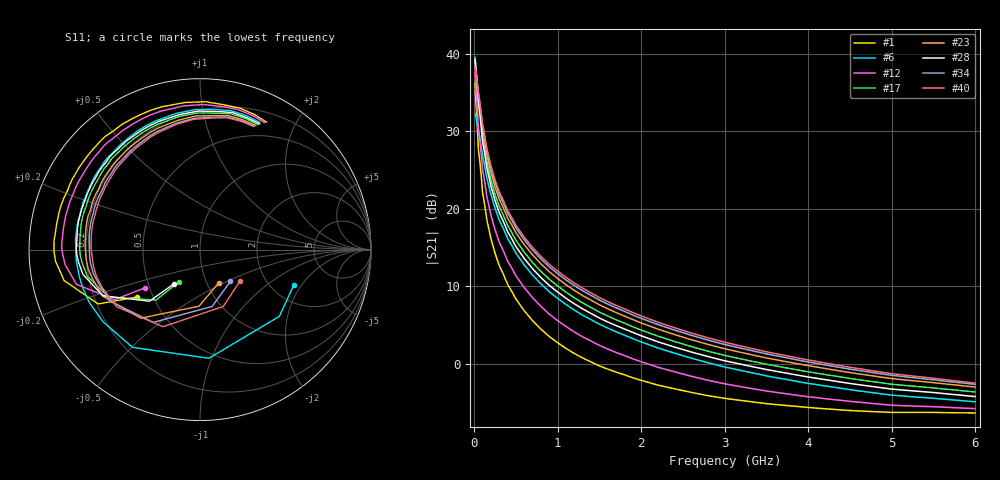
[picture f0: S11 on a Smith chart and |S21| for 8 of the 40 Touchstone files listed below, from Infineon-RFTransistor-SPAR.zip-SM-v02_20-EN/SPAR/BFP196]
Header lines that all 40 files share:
! Infineon Technologies  Discrete & RF Semiconductors
! BFP196
! Common Emitter S-Parameters:  Jan 2017
# GHz  S  MA  R  50
!  f  S11  S21  S12  S22
! GHz  MAG  ANG  MAG  ANG  MAG  ANG  MAG  ANG
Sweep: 10 MHz to 6 GHz
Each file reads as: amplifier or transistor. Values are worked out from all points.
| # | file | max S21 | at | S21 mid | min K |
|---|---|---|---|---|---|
| 1 | BFP196_VCE_1.0V_IC_0.11A.s2p | 36.2 dB | 10 MHz | -2.8 dB at 2.2 GHz | 0.60 |
| 2 | BFP196_VCE_1.0V_IC_0.12A.s2p | 35.5 dB | 10 MHz | -3.6 dB at 2.2 GHz | 0.66 |
| 3 | BFP196_VCE_1.0V_IC_0.13A.s2p | 34.9 dB | 10 MHz | -4.3 dB at 2.2 GHz | 0.67 |
| 4 | BFP196_VCE_1.0V_IC_0.14A.s2p | 34.2 dB | 10 MHz | -5.0 dB at 2.2 GHz | 0.74 |
| 5 | BFP196_VCE_1.0V_IC_0.15A.s2p | 33.5 dB | 10 MHz | -5.6 dB at 2.2 GHz | 0.76 |
| 6 | BFP196_VCE_1.0V_IC_15mA.s2p | 32.2 dB | 10 MHz | 2.0 dB at 2.2 GHz | 0.04 |
| 7 | BFP196_VCE_1.0V_IC_55mA.s2p | 38.0 dB | 10 MHz | 2.2 dB at 2.2 GHz | 0.23 |
| 8 | BFP196_VCE_1.0V_IC_95mA.s2p | 37.2 dB | 10 MHz | -1.3 dB at 2.2 GHz | 0.50 |
| 9 | BFP196_VCE_2.0V_IC_0.11A.s2p | 39.0 dB | 10 MHz | 2.0 dB at 2.2 GHz | 0.42 |
| 10 | BFP196_VCE_2.0V_IC_0.12A.s2p | 38.6 dB | 10 MHz | 1.2 dB at 2.2 GHz | 0.50 |
| 11 | BFP196_VCE_2.0V_IC_0.13A.s2p | 38.2 dB | 10 MHz | 0.4 dB at 2.2 GHz | 0.56 |
| 12 | BFP196_VCE_2.0V_IC_0.14A.s2p | 37.6 dB | 10 MHz | -0.5 dB at 2.2 GHz | 0.64 |
| 13 | BFP196_VCE_2.0V_IC_0.15A.s2p | 37.1 dB | 10 MHz | -1.3 dB at 2.2 GHz | 0.68 |
| 14 | BFP196_VCE_2.0V_IC_15mA.s2p | 32.3 dB | 10 MHz | 3.0 dB at 2.2 GHz | 0.01 |
| 15 | BFP196_VCE_2.0V_IC_55mA.s2p | 38.3 dB | 10 MHz | 3.9 dB at 2.2 GHz | 0.20 |
| 16 | BFP196_VCE_2.0V_IC_95mA.s2p | 39.2 dB | 10 MHz | 2.9 dB at 2.2 GHz | 0.36 |
| 17 | BFP196_VCE_3.0V_IC_0.11A.s2p | 39.6 dB | 10 MHz | 3.6 dB at 2.2 GHz | 0.36 |
| 18 | BFP196_VCE_3.0V_IC_0.12A.s2p | 39.5 dB | 10 MHz | 3.1 dB at 2.2 GHz | 0.41 |
| 19 | BFP196_VCE_3.0V_IC_0.13A.s2p | 39.2 dB | 10 MHz | 2.5 dB at 2.2 GHz | 0.43 |
| 20 | BFP196_VCE_3.0V_IC_0.14A.s2p | 38.8 dB | 10 MHz | 1.7 dB at 2.2 GHz | 0.54 |
| 21 | BFP196_VCE_3.0V_IC_0.15A.s2p | 38.4 dB | 10 MHz | 1.0 dB at 2.2 GHz | 0.63 |
| 22 | BFP196_VCE_3.0V_IC_15mA.s2p | 32.2 dB | 10 MHz | 3.5 dB at 2.2 GHz | 0.04 |
| 23 | BFP196_VCE_3.0V_IC_55mA.s2p | 38.4 dB | 10 MHz | 4.5 dB at 2.2 GHz | 0.18 |
| 24 | BFP196_VCE_3.0V_IC_95mA.s2p | 39.6 dB | 10 MHz | 4.0 dB at 2.2 GHz | 0.29 |
| 25 | BFP196_VCE_4.0V_IC_0.11A.s2p | 39.7 dB | 10 MHz | 4.2 dB at 2.2 GHz | 0.33 |
| 26 | BFP196_VCE_4.0V_IC_0.12A.s2p | 39.7 dB | 10 MHz | 3.9 dB at 2.2 GHz | 0.38 |
| 27 | BFP196_VCE_4.0V_IC_0.13A.s2p | 39.5 dB | 10 MHz | 3.4 dB at 2.2 GHz | 0.40 |
| 28 | BFP196_VCE_4.0V_IC_0.14A.s2p | 39.3 dB | 10 MHz | 2.8 dB at 2.2 GHz | 0.47 |
| 29 | BFP196_VCE_4.0V_IC_15mA.s2p | 32.2 dB | 10 MHz | 3.8 dB at 2.2 GHz | 0.01 |
| 30 | BFP196_VCE_4.0V_IC_55mA.s2p | 38.4 dB | 10 MHz | 4.8 dB at 2.2 GHz | 0.18 |
| 31 | BFP196_VCE_4.0V_IC_95mA.s2p | 39.6 dB | 10 MHz | 4.5 dB at 2.2 GHz | 0.29 |
| 32 | BFP196_VCE_5.0V_IC_0.11A.s2p | 39.8 dB | 10 MHz | 4.5 dB at 2.2 GHz | 0.33 |
| 33 | BFP196_VCE_5.0V_IC_15mA.s2p | 32.2 dB | 10 MHz | 4.0 dB at 2.2 GHz | 0.01 |
| 34 | BFP196_VCE_5.0V_IC_55mA.s2p | 38.4 dB | 10 MHz | 5.1 dB at 2.2 GHz | 0.17 |
| 35 | BFP196_VCE_5.0V_IC_95mA.s2p | 39.6 dB | 10 MHz | 4.8 dB at 2.2 GHz | 0.27 |
| 36 | BFP196_VCE_6.0V_IC_15mA.s2p | 32.1 dB | 10 MHz | 4.2 dB at 2.2 GHz | 0.03 |
| 37 | BFP196_VCE_6.0V_IC_55mA.s2p | 38.3 dB | 10 MHz | 5.2 dB at 2.2 GHz | 0.17 |
| 38 | BFP196_VCE_6.0V_IC_95mA.s2p | 39.6 dB | 10 MHz | 5.0 dB at 2.2 GHz | 0.27 |
| 39 | BFP196_VCE_7.0V_IC_15mA.s2p | 32.1 dB | 10 MHz | 4.3 dB at 2.2 GHz | 0.01 |
| 40 | BFP196_VCE_7.0V_IC_55mA.s2p | 38.2 dB | 10 MHz | 5.4 dB at 2.2 GHz | 0.17 |

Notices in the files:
Hoja de datos/BFP 450/Infineon-RFTransistor-SPAR.zip-SM-v02_20-EN/SPAR/BFP196/BFP196_VCE_1.0V_IC_0.11A.s2p:
(c) 2017  Infineon Technologies AG, Munich
